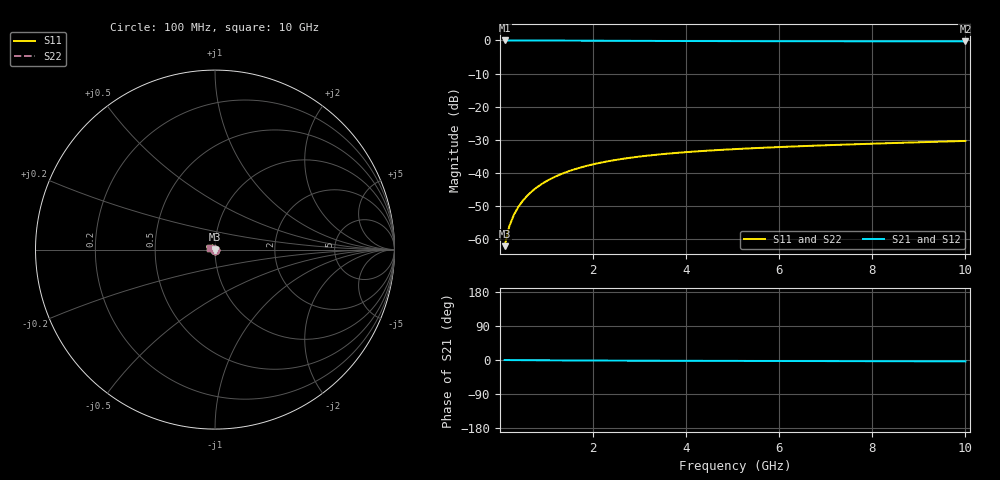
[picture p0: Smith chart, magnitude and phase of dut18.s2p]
! Touchstone file exported from HFSS 2024.1.0
!  File:  C:/UserFiles/LocalFiles/RDL_TSV_Batchsim/temp_TSV1_18_1778746878.aedt
!  Generated:  04:27:27 PM May 14, 2026
!  Design:  TSV1
!  Project:  temp_TSV1_18_1778746878
!  Setup:  Setup1
!  Solution:  Sweep
! Variables:
!  dtsv = 10.58um
!  hbump = 3um
!  htsv = 50.82um
!  lrdl = 252.1521522um
!  p = 40
!  p1 = 58.24um
!  t = 500um
!  trdl = 3um
!  wrdl = 24.89489489um
# GHz S MA R 50.000000
! Terminal data exported
! Port[1] = TSV22_T1
! Port[2] = TSV22_T2
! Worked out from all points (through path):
!   100 points, 100 MHz to 10 GHz, reference 50 ohm
!   highest |S21| = 0.00 dB at 100 MHz (marker M1); lowest = -0.3 dB at 10 GHz (marker M2)
!   lowest |S11| = -62.1 dB at 100 MHz (marker M3), VSWR 1.00, Z = 50 - j0.078 ohm
!   |S11| at or under -10 dB: start of sweep to end of sweep
!   |S22| runs from -62.1 to -30.3 dB; largest |S21 - S12| = 8.3e-15
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0.1  0.0007829 -84.9  0.9999 -0.1  0.9999 -0.1  0.0007829 -84.9
! Gamma 0 0 0 0
! Port Impedance 50 0 50 0
0.2  0.001559 -90.5  0.9998 -0.2  0.9998 -0.2  0.001559 -90.5
0.3  0.002336 -93.9  0.9996 -0.3  0.9996 -0.3  0.002336 -93.9
0.4  0.003109 -96.7  0.9994 -0.3  0.9994 -0.3  0.003109 -96.7
0.5  0.003874 -99.2  0.9991 -0.4  0.9991 -0.4  0.003874 -99.2
0.6  0.004629 -101.6  0.9988 -0.5  0.9988 -0.5  0.004629 -101.6
0.7  0.005372 -103.9  0.9984 -0.6  0.9984 -0.6  0.005372 -103.9
0.8  0.006101 -106.2  0.998 -0.7  0.998 -0.7  0.006101 -106.2
0.9  0.006815 -108.4  0.9975 -0.8  0.9975 -0.8  0.006815 -108.4
1.1  0.008194 -112.6  0.9965 -0.9  0.9965 -0.9  0.008194 -112.6
1.4  0.01013 -118.7  0.9948 -1.1  0.9948 -1.1  0.01013 -118.7
1.6  0.01132 -122.5  0.9936 -1.2  0.9936 -1.2  0.01132 -122.5
1.8  0.01243 -126.1  0.9923 -1.3  0.9923 -1.3  0.01243 -126.1
2.1  0.01396 -131.3  0.9904 -1.5  0.9904 -1.5  0.01396 -131.3
2.5  0.01575 -137.7  0.9879 -1.7  0.9879 -1.7  0.01575 -137.7
2.9  0.0173 -143.5  0.9857 -1.8  0.9857 -1.8  0.0173 -143.5
3.4  0.01894 -150.0  0.9831 -2.0  0.9831 -2.0  0.01894 -150.0
4.2  0.02106 -159.1  0.9797 -2.2  0.9797 -2.2  0.02106 -159.1
5.1  0.02297 -167.8  0.9768 -2.4  0.9768 -2.4  0.02297 -167.8
6.7  0.02568 179.7  0.9732 -2.8  0.9732 -2.8  0.02568 179.7
8.4  0.02817 169.2  0.9708 -3.2  0.9708 -3.2  0.02817 169.2
10  0.0304 161.0  0.9693 -3.6  0.9693 -3.6  0.0304 161.0
